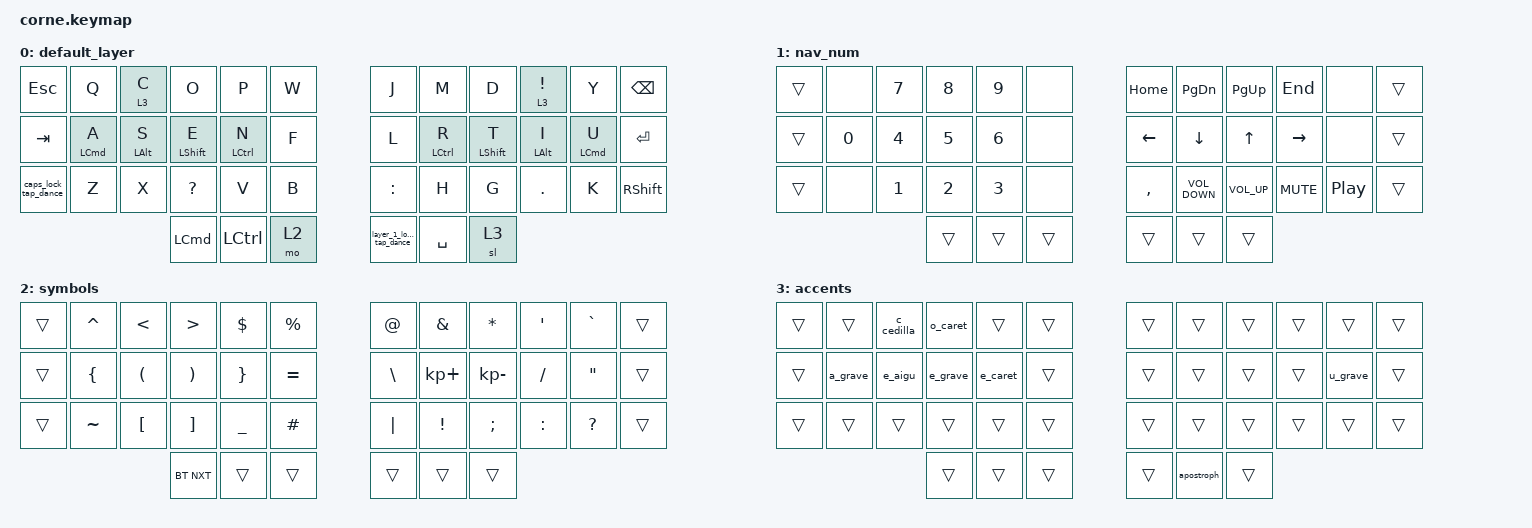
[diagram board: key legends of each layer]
/*
 * Copyright (c) 2020 The ZMK Contributors
 *
 * SPDX-License-Identifier: MIT
 */

#include <behaviors.dtsi>
#include <dt-bindings/zmk/bt.h>
#include <dt-bindings/zmk/keys.h>

/ {
    behaviors {
        caps_lock_tap_dance: caps_lock_tap_dance {
            compatible = "zmk,behavior-tap-dance";
            label = "CAPS_LOCK_TAP_DANCE";
            #binding-cells = <0>;
            bindings = <&kp LSHFT>, <&kp CAPSLOCK>;
        };

        e_accents_tap_dance: e_accents_tap_dance {
            compatible = "zmk,behavior-tap-dance";
            label = "E_ACCENTS_TAP_DANCE";
            #binding-cells = <0>;
            bindings = <&kp E>, <&e_aigu>, <&e_grave>;

            tapping-term-ms = <300>;
        };

        layer_1_lock_tap_dance: layer_1_lock_tap_dance {
            compatible = "zmk,behavior-tap-dance";
            label = "LAYER_1_LOCK_TAP_DANCE";
            #binding-cells = <0>;
            bindings = <&mo 1>, <&tog 1>;
        };

        hml: home_row_mod_left {
            compatible = "zmk,behavior-hold-tap";
            #binding-cells = <2>;
            flavor = "balanced";
            require-prior-idle-ms = <150>;
            tapping-term-ms = <280>;
            quick-tap-ms = <175>;
            bindings = <&kp>, <&kp>;
            hold-trigger-key-positions = <6 7 8 9 10 11 18 19 20 21 22 23 30 31 32 33 34 35 39 40 41>;
            hold-trigger-on-release;
        };

        hmr: home_row_mod_right {
            compatible = "zmk,behavior-hold-tap";
            #binding-cells = <2>;
            flavor = "balanced";
            require-prior-idle-ms = <150>;
            tapping-term-ms = <280>;
            quick-tap-ms = <175>;
            bindings = <&kp>, <&kp>;
            hold-trigger-key-positions = <0 1 2 3 4 5 12 13 14 15 16 17 24 25 26 27 28 29 36 37 38>;
            hold-trigger-on-release;
        };
    };

    combos {
        compatible = "zmk,combos";

        enter_combo_right {
            bindings = <&kp ENTER>;
            key-positions = <20 21>;
        };

        enter_combo_left {
            bindings = <&kp ENTER>;
            key-positions = <14 15>;
        };
    };

    macros {
        e_aigu: e_aigu {
            wait-ms = <0>;
            tap-ms = <0>;
            compatible = "zmk,behavior-macro";
            #binding-cells = <0>;
            bindings = <&kp SQT &kp E>;
            label = "E_AIGU";
        };

        e_grave: e_grave {
            wait-ms = <0>;
            tap-ms = <0>;
            compatible = "zmk,behavior-macro";
            #binding-cells = <0>;
            bindings = <&kp GRAVE &kp E>;
            label = "E_GRAVE";
        };

        e_caret: e_caret {
            wait-ms = <0>;
            tap-ms = <0>;
            compatible = "zmk,behavior-macro";
            #binding-cells = <0>;
            bindings = <&kp CARET &kp E>;
            label = "E_CARET";
        };

        o_caret: o_caret {
            wait-ms = <0>;
            tap-ms = <0>;
            compatible = "zmk,behavior-macro";
            #binding-cells = <0>;
            bindings = <&kp CARET &kp O>;
            label = "O_CARET";
        };

        a_grave: a_grave {
            wait-ms = <0>;
            tap-ms = <0>;
            compatible = "zmk,behavior-macro";
            #binding-cells = <0>;
            bindings = <&kp GRAVE &kp A>;
            label = "A_GRAVE";
        };

        u_grave: u_grave {
            wait-ms = <0>;
            tap-ms = <0>;
            compatible = "zmk,behavior-macro";
            #binding-cells = <0>;
            bindings = <&kp GRAVE &kp U>;
            label = "U_GRAVE";
        };

        apostroph: apostroph {
            wait-ms = <0>;
            tap-ms = <0>;
            compatible = "zmk,behavior-macro";
            #binding-cells = <0>;
            bindings = <&kp SQT &kp SPACE>;
            label = "APOSTROPH";
        };

        c_cedilla: c_cedilla {
            wait-ms = <0>;
            tap-ms = <0>;
            compatible = "zmk,behavior-macro";
            #binding-cells = <0>;
            bindings 
              = <&macro_press &kp RIGHT_ALT>
              , <&macro_tap &kp COMMA>
              , <&macro_release &kp RIGHT_ALT>
            ;
            label = "C_CEDILLA";
        };
    };

    keymap {
        compatible = "zmk,keymap";

        default_layer {
            // -----------------------------------------------------------------------------------------
            // |  TAB |  Q  |  W  |  E  |  R  |  T  |   |  Y  |  U   |  I  |  O  |  P  | BSPC |
            // | CTRL |  A  |  S  |  D  |  F  |  G  |   |  H  |  J   |  K  |  L  |  ;  |  '   |
            // | SHFT |  Z  |  X  |  C  |  V  |  B  |   |  N  |  M   |  ,  |  .  |  /  | ESC  |
            //                    | GUI | LWR | SPC |   | ENT | RSE  | ALT |

            bindings = <
&kp ESCAPE            &kp Q                &lt 3 C          &kp O             &kp P          &kp W    &kp J                    &kp M         &kp D         &lt 3 EXCLAMATION  &kp Y                &kp BSPC
&kp TAB               &hml LEFT_COMMAND A  &hml LEFT_ALT S  &hml LSHFT E      &hml LCTRL N   &kp F    &kp L                    &hmr LCTRL R  &hmr LSHFT T  &hmr LEFT_ALT I    &hmr LEFT_COMMAND U  &kp RET
&caps_lock_tap_dance  &kp Z                &kp X            &kp QUESTION      &kp V          &kp B    &kp COLON                &kp H         &kp G         &kp DOT            &kp K                &kp RSHIFT
                                                            &kp LEFT_COMMAND  &kp LCTRL      &mo 2    &layer_1_lock_tap_dance  &kp SPACE     &sl 3
            >;
        };

        nav_num {
            // -----------------------------------------------------------------------------------------
            // |  TAB |  1  |  2  |  3  |  4  |  5  |   |  6  |  7  |  8  |  9  |  0  | BSPC |
            // | BTCLR| BT1 | BT2 | BT3 | BT4 | BT5 |   | LFT | DWN |  UP | RGT |     |      |
            // | SHFT |     |     |     |     |     |   |     |     |     |     |     |      |
            //                    | GUI |     | SPC |   | ENT |     | ALT |

            bindings = <
&trans  &none   &kp N7        &kp N8        &kp N9        &none     &kp HOME   &kp PAGE_DOWN      &kp PAGE_UP      &kp END     &none             &trans
&trans  &kp N0  &kp NUMBER_4  &kp N5        &kp NUMBER_6  &none     &kp LEFT   &kp DOWN           &kp UP_ARROW     &kp RIGHT   &none             &trans
&trans  &none   &kp NUMBER_1  &kp NUMBER_2  &kp NUMBER_3  &none     &kp COMMA  &kp C_VOLUME_DOWN  &kp C_VOLUME_UP  &kp C_MUTE  &kp C_PLAY_PAUSE  &trans
                              &trans        &trans        &trans    &trans     &trans             &trans
            >;
        };

        symbols {
            // -----------------------------------------------------------------------------------------
            // |  TAB |  !  |  @  |  #  |  $  |  %  |   |  ^  |  &  |  *  |  (  |  )  | BSPC |
            // | CTRL |     |     |     |     |     |   |  -  |  =  |  [  |  ]  |  \  |  `   |
            // | SHFT |     |     |     |     |     |   |  _  |  +  |  {  |  }  | "|" |  ~   |
            //                    | GUI |     | SPC |   | ENT |     | ALT |

            bindings = <
&trans  &kp CARET       &kp LESS_THAN         &kp GREATER_THAN       &kp DLLR         &kp PRCNT    &kp AT_SIGN    &kp AMPERSAND    &kp ASTRK      &kp SINGLE_QUOTE  &kp GRAVE          &trans
&trans  &kp LEFT_BRACE  &kp LEFT_PARENTHESIS  &kp RIGHT_PARENTHESIS  &kp RIGHT_BRACE  &kp EQUAL    &kp BACKSLASH  &kp KP_PLUS      &kp KP_MINUS   &kp SLASH         &kp DOUBLE_QUOTES  &trans
&trans  &kp TILDE       &kp LEFT_BRACKET      &kp RIGHT_BRACKET      &kp UNDERSCORE   &kp HASH     &kp PIPE       &kp EXCLAMATION  &kp SEMICOLON  &kp COLON         &kp QUESTION       &trans
                                              &bt BT_NXT             &trans           &trans       &trans         &trans           &trans
            >;
        };

        accents {

            bindings = <
&trans  &trans    &c_cedilla  &o_caret  &trans    &trans  &trans  &trans      &trans  &trans  &trans    &trans  
&trans  &a_grave  &e_aigu     &e_grave  &e_caret  &trans  &trans  &trans      &trans  &trans  &u_grave  &trans  
&trans  &trans    &trans      &trans    &trans    &trans  &trans  &trans      &trans  &trans  &trans    &trans  
                              &trans    &trans    &trans  &trans  &apostroph  &trans
            >;
        };
    };
};
